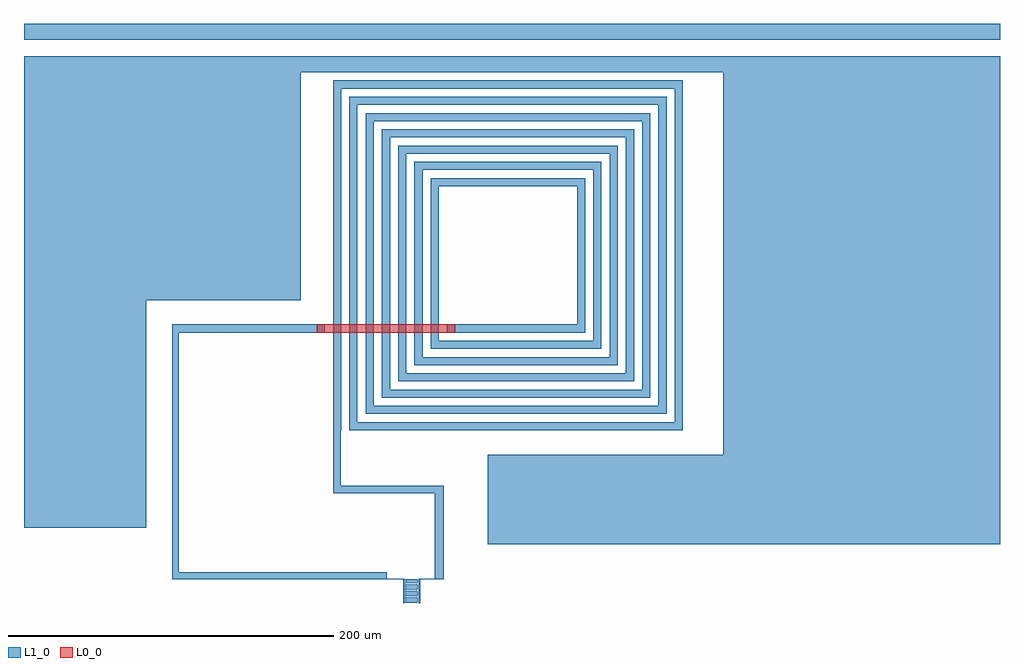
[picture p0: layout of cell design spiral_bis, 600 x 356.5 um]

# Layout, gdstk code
import gdstk
lib = gdstk.Library(unit=1e-6, precision=1e-09)
def R(c, l, rs):  # rectangles x0, y0, x1, y1
    for r in rs: c.add(gdstk.rectangle(r[:2], r[2:], *l))
def P(c, l, *ps):  # polygons
    for p in ps: c.add(gdstk.Polygon(p, *l))
L0_0 = (0, 0)
L1_0 = (1, 0)

design_spiral_bis = lib.new_cell('design spiral_bis')
R(design_spiral_bis, L0_0, [(180,302.75,265,307.75)])
R(design_spiral_bis, L1_0, [(95,151,223,155.5), (223,151,233.75,151.5), (242.75,151,252.5,151.5), (252.5,151,258,204), (285,172.75,430,227.75), (430,172.75,600,462.75), (0,182.75,75,462.75), (190,204,194.75,242.75), (194.75,204,258,208.75), (91.25,302.75,185,307.75), (180,302.75,185,307.75), (260,302.75,265,307.75), (75,322.75,170,462.75), (0,462.75,600,472.75), (0,482.75,600,492.75)])
P(design_spiral_bis, L1_0, [(91.25,302.75),(95.25,302.75),(95,151),(91,151)],
  [(233,151),(241.75,151),(241.75,150.75),(233.75,150.75),(233.75,150),(241.75,150),(241.75,149.75),(233.75,149.75),(233.75,149),(241.75,149),(241.75,148.75),(233.75,148.75),(233.75,148),(241.75,148),(241.75,147.75),(233.75,147.75),(233.75,147),(241.75,147),(241.75,146.75),(233.75,146.75),(233.75,146),(241.75,146),(241.75,145.75),(233.75,145.75),(233.75,145),(241.75,145),(241.75,144.75),(233.75,144.75),(233.75,144),(241.75,144),(241.75,143.75),(233.75,143.75),(233.75,143),(241.75,143),(241.75,142.75),(233.75,142.75),(233.75,142),(241.75,142),(241.75,141.75),(233.75,141.75),(233.75,141),(241.75,141),(241.75,140.75),(233.75,140.75),(233.75,140),(241.75,140),(241.75,139.75),(233.75,139.75),(233.75,139),(241.75,139),(241.75,138.75),(233.75,138.75),(233.75,138),(241.75,138),(241.75,137.75),(233.75,137.75),(233.75,137),(241.75,137),(241.75,136.75),(233.75,136.75),(233.75,136.25),(233,136.25)],
  [(243.5,136.25),(234.75,136.25),(234.75,136.5),(242.75,136.5),(242.75,137.25),(234.75,137.25),(234.75,137.5),(242.75,137.5),(242.75,138.25),(234.75,138.25),(234.75,138.5),(242.75,138.5),(242.75,139.25),(234.75,139.25),(234.75,139.5),(242.75,139.5),(242.75,140.25),(234.75,140.25),(234.75,140.5),(242.75,140.5),(242.75,141.25),(234.75,141.25),(234.75,141.5),(242.75,141.5),(242.75,142.25),(234.75,142.25),(234.75,142.5),(242.75,142.5),(242.75,143.25),(234.75,143.25),(234.75,143.5),(242.75,143.5),(242.75,144.25),(234.75,144.25),(234.75,144.5),(242.75,144.5),(242.75,145.25),(234.75,145.25),(234.75,145.5),(242.75,145.5),(242.75,146.25),(234.75,146.25),(234.75,146.5),(242.75,146.5),(242.75,147.25),(234.75,147.25),(234.75,147.5),(242.75,147.5),(242.75,148.25),(234.75,148.25),(234.75,148.5),(242.75,148.5),(242.75,149.25),(234.75,149.25),(234.75,149.5),(242.75,149.5),(242.75,150.25),(234.75,150.25),(234.75,150.5),(242.75,150.5),(242.75,151),(243.5,151)],
  [(190,242.75),(190,457.75),(405,457.75),(405,242.75),(200,242.75),(200,447.75),(395,447.75),(395,252.75),(210,252.75),(210,437.75),(385,437.75),(385,262.75),(220,262.75),(220,427.75),(375,427.75),(375,272.75),(230,272.75),(230,417.75),(365,417.75),(365,282.75),(240,282.75),(240,407.75),(355,407.75),(355,292.75),(250,292.75),(250,397.75),(345,397.75),(345,302.75),(260,302.75),(260,307.75),(340,307.75),(340,392.75),(255,392.75),(255,297.75),(350,297.75),(350,402.75),(245,402.75),(245,287.75),(360,287.75),(360,412.75),(235,412.75),(235,277.75),(370,277.75),(370,422.75),(225,422.75),(225,267.75),(380,267.75),(380,432.75),(215,432.75),(215,257.75),(390,257.75),(390,442.75),(205,442.75),(205,247.75),(400,247.75),(400,452.75),(195,452.75),(195,242.75)])

lib.write_gds('design_spiral_bis.gds')
